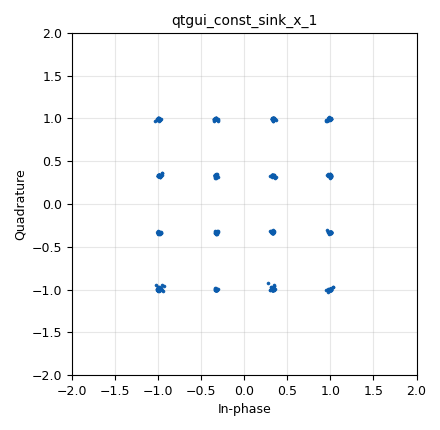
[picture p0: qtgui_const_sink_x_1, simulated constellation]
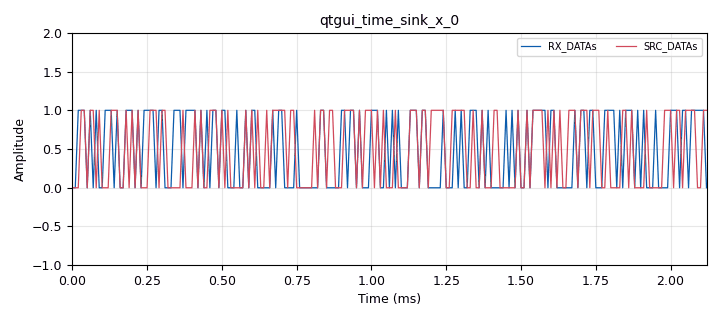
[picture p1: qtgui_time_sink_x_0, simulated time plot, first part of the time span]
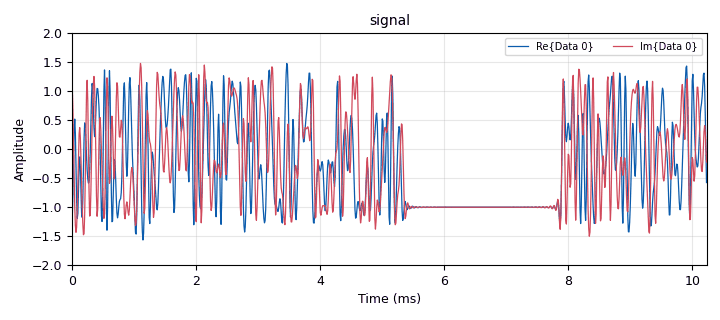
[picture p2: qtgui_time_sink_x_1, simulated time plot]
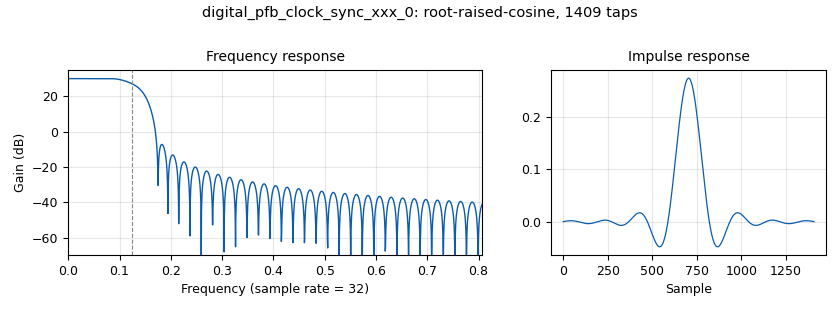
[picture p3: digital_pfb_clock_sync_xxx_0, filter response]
options:
  parameters:
    author: Tom Rondeau
    category: Custom
    description: Explore Soft Decoding of constellations. Selec the constellation from the available objects.
    generate_options: qt_gui
    id: ask_bpsk_qpsk_qam16_v2
    output_language: python
    title: ask_bpsk_qpsk_qam16_v2
  states: {}

blocks:
- name: arity
  id: variable
  parameters:
    value: '4'
  states: {}
- name: constel
  id: variable
  parameters:
    value: constel_qam16
  states: {}
- name: constel_ask
  id: variable_constellation
  parameters:
    const_points: (0,1)
    dims: '1'
    normalization: digital.constellation.AMPLITUDE_NORMALIZATION
    precision: '8'
    rot_sym: '4'
    soft_dec_lut: '''auto'''
    sym_map: (0,1)
    type: calcdist
  states: {}
- name: constel_bpsk
  id: variable_constellation
  parameters:
    const_points: digital.psk_2()[0]
    dims: '1'
    normalization: digital.constellation.AMPLITUDE_NORMALIZATION
    precision: '8'
    rot_sym: '4'
    soft_dec_lut: '''auto'''
    sym_map: digital.psk_2()[1]
    type: calcdist
  states: {}
- name: constel_qam16
  id: variable_constellation
  parameters:
    const_points: digital.qam_16()[0]
    dims: '1'
    normalization: digital.constellation.AMPLITUDE_NORMALIZATION
    precision: '8'
    rot_sym: '4'
    soft_dec_lut: '''auto'''
    sym_map: digital.qam_16()[1]
    type: calcdist
  states: {}
- name: constel_qpsk
  id: variable_constellation
  parameters:
    const_points: digital.psk_4()[0]
    dims: '1'
    normalization: digital.constellation.AMPLITUDE_NORMALIZATION
    precision: '8'
    rot_sym: '4'
    soft_dec_lut: '''auto'''
    sym_map: digital.psk_4()[1]
    type: calcdist
  states: {}
- name: delay
  id: variable_qtgui_chooser
  parameters:
    gui_hint: 0,1,1,1
    label: Delay
    label0: BPSK
    label1: QPSK
    label2: QAM16
    label3: ASK
    num_opts: '4'
    option0: '29'
    option1: '58'
    option2: '116'
    option3: '29'
    type: int
    value: '29'
  states: {}
- name: gap_num
  id: variable
  parameters:
    value: '32'
  states: {}
- name: nfilts
  id: variable
  parameters:
    value: '32'
  states: {}
- name: noise_volt
  id: variable_qtgui_range
  parameters:
    gui_hint: 0,0,1,1
    label: 'Channel: Noise Voltage'
    start: '0'
    step: '0.01'
    stop: '1'
    value: '0.0001'
    widget: slider
  states: {}
- name: preamble
  id: variable
  parameters:
    comment: '[0xac, 0xdd, 0xa4, 0xe2, 0xf2, 0x8c, 0x20, 0xfc]'
    value: '[0xac, 0xdd, 0xa4, 0xe2, 0xf2, 0x8c, 0x20, 0xfc]'
  states: {}
- name: random_data_num
  id: variable
  parameters:
    value: '200'
  states: {}
- name: rrc_taps
  id: variable
  parameters:
    value: firdes.root_raised_cosine(nfilts, nfilts, 1.0/float(sps), 0.35, 11*sps*nfilts)
  states: {}
- name: samp_rate
  id: variable
  parameters:
    value: '100000'
  states: {}
- name: sps
  id: variable
  parameters:
    value: '4'
  states: {}
- name: analog_random_source_x_0
  id: analog_random_source_x
  parameters:
    max: '256'
    min: '0'
    num_samps: random_data_num
    repeat: 'True'
    type: byte
  states: {}
- name: blocks_char_to_float_0
  id: blocks_char_to_float
  parameters:
    scale: '1'
  states: {}
- name: blocks_char_to_float_0_0_0
  id: blocks_char_to_float
  parameters:
    scale: '1'
  states: {}
- name: blocks_delay_0
  id: blocks_delay
  parameters:
    delay: int(delay)
    type: byte
  states: {}
- name: blocks_multiply_const_vxx_0
  id: blocks_multiply_const_vxx
  parameters:
    const: 1/(random_data_num*8)*100
    type: float
  states: {}
- name: blocks_null_source_0_0
  id: blocks_null_source
  parameters:
    type: byte
  states: {}
- name: blocks_stream_mux_0_0
  id: blocks_stream_mux
  parameters:
    comment: 流混合：len=((len(preamble)+len(data))*8*sps, gap)
    lengths: (len(preamble), random_data_num, gap_num)
    num_inputs: '3'
    type: byte
  states: {}
- name: blocks_throttle_0
  id: blocks_throttle
  parameters:
    samples_per_second: samp_rate
    type: byte
  states: {}
- name: blocks_unpack_k_bits_bb_0
  id: blocks_unpack_k_bits_bb
  parameters:
    k: constel.bits_per_symbol()
  states: {}
- name: blocks_unpack_k_bits_bb_0_0
  id: blocks_unpack_k_bits_bb
  parameters:
    k: '8'
  states: {}
- name: blocks_vector_source_x_0
  id: blocks_vector_source_x
  parameters:
    repeat: 'True'
    type: byte
    vector: preamble
  states: {}
- name: channels_channel_model_0
  id: channels_channel_model
  parameters:
    epsilon: '1.0'
    freq_offset: '0.0'
    noise_voltage: noise_volt
    seed: '0'
    taps: '1.0'
  states: {}
- name: digital_constellation_decoder_cb_0
  id: digital_constellation_decoder_cb
  parameters:
    constellation: constel
  states: {}
- name: digital_constellation_modulator_0
  id: digital_constellation_modulator
  parameters:
    constellation: constel
    differential: 'False'
    excess_bw: '0.35'
    samples_per_symbol: sps
  states: {}
- name: digital_map_bb_0_0
  id: digital_map_bb
  parameters:
    map: constel.pre_diff_code()
  states: {}
- name: digital_pfb_clock_sync_xxx_0
  id: digital_pfb_clock_sync_xxx
  parameters:
    filter_size: nfilts
    init_phase: nfilts/2
    loop_bw: 6.28/100.0
    max_dev: '1.5'
    osps: '1'
    sps: sps
    taps: rrc_taps
    type: ccf
  states: {}
- name: epy_block_0
  id: epy_block
  parameters:
    _source_code: |
      """
      Embedded Python Blocks:

      Each time this file is saved, GRC will instantiate the first class it finds
      to get ports and parameters of your block. The arguments to __init__  will
      be the parameters. All of them are required to have default values!
      """

      import numpy as np
      from gnuradio import gr
      import struct


      class blk(gr.sync_block):  # other base classes are basic_block, decim_block, interp_block
          """Embedded Python Block example - a simple multiply const"""

          def __init__(self, preamble=[], random_data_num = 0, gap_num = 0, risks = 0.3, debug = False):  # only default arguments here
              """arguments to this function show up as parameters in GRC"""
              gr.sync_block.__init__(
                  self,
                  name='Embedded Python Block',   # will show up in GRC
                  in_sig=[np.int8,np.int8],
                  out_sig=[np.int8,np.int8,np.float32]
              )
              # if an attribute with the same name as a parameter is found,
              # a callback is registered (properties work, too).
              self.preamble = preamble
              self.preamble_bits = []
              self.preamble_bits_num = 0
              self.random_data_num = random_data_num
              self.gap_num = gap_num
              self.total_num = 0
              self.total_error_num = 0
              self.datas_0 = []
              self.datas_1 = []
              self.datas_one_frame_num = (len(preamble)+random_data_num+gap_num)*8
              self.debug = debug
              self.risks = risks # 比较头部信息时，出错容忍度(头部需要容错率，不然在有干扰时，头部都无法准确定位了）
              
              for byte in self.preamble:
                  for i in range(7, -1, -1):
                      bit = (byte >> i) & 1
                      self.preamble_bits.append(float(bit))
              self.preamble_bits_num = len(self.preamble_bits)
                    

          def find_preamble(self, datas):
              # find preamble
              total_num = len(datas)
              for i in range(total_num - self.preamble_bits_num + 1):
                  ok = 1
                  error_num = 0
                  for j in range(self.preamble_bits_num):
                      if datas[i+j] != self.preamble_bits[j]:
                          error_num = error_num + 1
                          if error_num >=  self.preamble_bits_num*self.risks:
                              ok = 0
                              break
                  
                  if ok == 1:
                      return i
              return -1
                      
          def cal_error(self,error_array):
              total0_num = len(self.datas_0)
              total1_num = len(self.datas_1)
              
              # find preamble
              index_0 = self.find_preamble(self.datas_0)
              index_1 = self.find_preamble(self.datas_1)
              
              # print(index_0,index_1,'\n')
                      
              # have at least one frame
              if index_0 != -1 and index_1 != -1:
                  if index_0 + self.datas_one_frame_num <= total0_num and index_1 + self.datas_one_frame_num <= total1_num:
                      error_num = 0
                      for i in range(self.random_data_num*8):
                          if self.datas_0[index_0+self.preamble_bits_num+i] != self.datas_1[index_1+self.preamble_bits_num+i]:
                              error_num = error_num + 1
                      
                      if self.debug == True:
                          print('[%d/%d][%d/%d] error/rand_datas = %d/%d (bits)' %(index_0, total0_num, index_1, total1_num, error_num,self.random_data_num*8))
                      error_array.append(error_num)
                      
                      # cut the one frame
                      self.datas_0 = self.datas_0[index_0+self.datas_one_frame_num:]
                      self.datas_1 = self.datas_1[index_1+self.datas_one_frame_num:]
                      
                      self.cal_error(error_array)
                  
          def work(self, input_items, output_items):
              """example: multiply with constant"""
              output_items[0][:] = input_items[0]
              output_items[1][:] = input_items[1]
              
              # buffer the input datas
              self.datas_0 = np.append(self.datas_0,input_items[0])
              self.datas_1 = np.append(self.datas_1,input_items[1])
              
              error_array = []
              error_average = 0
              self.cal_error(error_array)
              if len(error_array) != 0:
                  error_average = int(sum(error_array) / len(error_array))
                  if self.debug == True:
                      print(error_array ,'->', error_average)
              
              for i in range(len(input_items[0])):
                  output_items[2][i] = error_average
              
              return len(output_items[0])
    debug: 'False'
    gap_num: gap_num
    preamble: preamble
    random_data_num: random_data_num
    risks: '0.3'
  states: {}
- name: error_bits
  id: qtgui_number_sink
  parameters:
    color1: ("blue", "red")
    graph_type: qtgui.NUM_GRAPH_HORIZ
    max: random_data_num*8
    min: '0'
    name: '"error_bits"'
    type: float
    update_time: '0.01'
  states: {}
- name: error_rate_show
  id: qtgui_number_sink
  parameters:
    color1: ("blue", "red")
    graph_type: qtgui.NUM_GRAPH_HORIZ
    max: '100'
    min: '0'
    name: '"error rate"'
    type: float
    update_time: '0.01'
  states: {}
- name: import_cmath
  id: import
  parameters:
    imports: import cmath
  states: {}
- name: import_math
  id: import
  parameters:
    imports: import math
  states: {}
- name: note_auto
  id: note
  parameters:
    note: auto-build LUT
  states: {}
- name: qtgui_const_sink_x_1
  id: qtgui_const_sink_x
  parameters:
    gui_hint: 1,0,1,1
    name: ''
    size: '1024'
    type: complex
  states: {}
- name: qtgui_time_sink_x_0
  id: qtgui_time_sink_x
  parameters:
    gui_hint: 1,1,1,1
    label1: RX_DATAs
    label2: SRC_DATAs
    name: ''
    nconnections: '2'
    size: '10000'
    srate: samp_rate
    type: float
    update_time: '0.05'
    ymax: '2'
  states: {}
- name: qtgui_time_sink_x_1
  id: qtgui_time_sink_x
  parameters:
    name: '"signal"'
    size: '1024'
    srate: samp_rate
    type: complex
    ymax: '2'
    ymin: '-2'
  states: {}
- name: virtual_sink_0
  id: virtual_sink
  parameters:
    stream_id: src_sink
  states: {}
- name: virtual_source_0
  id: virtual_source
  parameters:
    stream_id: src_sink
  states: {}

connections:
- [analog_random_source_x_0, '0', blocks_stream_mux_0_0, '1']
- [blocks_char_to_float_0, '0', qtgui_time_sink_x_0, '0']
- [blocks_char_to_float_0_0_0, '0', qtgui_time_sink_x_0, '1']
- [blocks_delay_0, '0', epy_block_0, '1']
- [blocks_multiply_const_vxx_0, '0', error_rate_show, '0']
- [blocks_null_source_0_0, '0', blocks_stream_mux_0_0, '2']
- [blocks_stream_mux_0_0, '0', blocks_throttle_0, '0']
- [blocks_throttle_0, '0', virtual_sink_0, '0']
- [blocks_unpack_k_bits_bb_0, '0', epy_block_0, '0']
- [blocks_unpack_k_bits_bb_0_0, '0', blocks_delay_0, '0']
- [blocks_vector_source_x_0, '0', blocks_stream_mux_0_0, '0']
- [channels_channel_model_0, '0', digital_pfb_clock_sync_xxx_0, '0']
- [digital_constellation_decoder_cb_0, '0', digital_map_bb_0_0, '0']
- [digital_constellation_modulator_0, '0', channels_channel_model_0, '0']
- [digital_constellation_modulator_0, '0', qtgui_time_sink_x_1, '0']
- [digital_map_bb_0_0, '0', blocks_unpack_k_bits_bb_0, '0']
- [digital_pfb_clock_sync_xxx_0, '0', digital_constellation_decoder_cb_0, '0']
- [digital_pfb_clock_sync_xxx_0, '0', qtgui_const_sink_x_1, '0']
- [epy_block_0, '0', blocks_char_to_float_0, '0']
- [epy_block_0, '1', blocks_char_to_float_0_0_0, '0']
- [epy_block_0, '2', blocks_multiply_const_vxx_0, '0']
- [epy_block_0, '2', error_bits, '0']
- [virtual_source_0, '0', blocks_unpack_k_bits_bb_0_0, '0']
- [virtual_source_0, '0', digital_constellation_modulator_0, '0']

metadata:
  file_format: 1
  grc_version: 3.10.11.0
